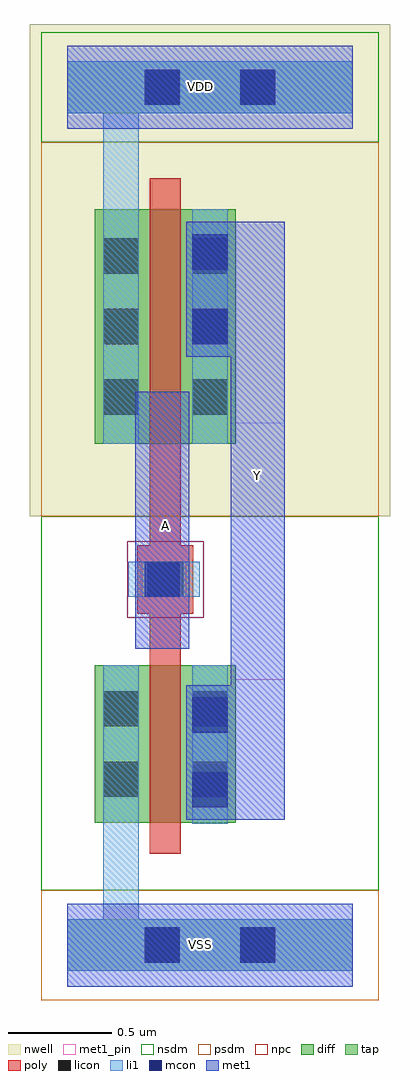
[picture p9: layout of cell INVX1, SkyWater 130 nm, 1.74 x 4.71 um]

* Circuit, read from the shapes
.subckt INVX1 A VDD VSS Y
XM1 Y A VSS VSS sky130_fd_pr__nfet_01v8 w=0.76 l=0.15
XM2 Y A VDD VDD sky130_fd_pr__pfet_01v8 w=1.13 l=0.15
.ends

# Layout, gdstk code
from math import pi, radians
import gdstk
lib = gdstk.Library(unit=1e-6, precision=1e-09)
def R(c, l, rs):  # rectangles x0, y0, x1, y1
    for r in rs: c.add(gdstk.rectangle(r[:2], r[2:], *l))
def A(c, l, x, y, w, h, nx, ny, dx, dy):  # array of equal rectangles
    R(c, l, [(x+i*dx, y+j*dy, x+i*dx+w, y+j*dy+h) for i in range(nx) for j in range(ny)])
nwell = (64, 20)
diff = (65, 20)
tap = (65, 44)
poly = (66, 20)
licon = (66, 44)
li1 = (67, 20)
mcon = (67, 44)
met1_pin = (68, 16)
met1 = (68, 20)
nsdm = (93, 44)
psdm = (94, 20)
npc = (95, 20)

l1m1_c_cdns_750710154094 = lib.new_cell('L1M1_C_CDNS_750710154094')
R(l1m1_c_cdns_750710154094, li1, [(-0.085,-0.345,0.085,0.345)])
R(l1m1_c_cdns_750710154094, mcon, [(-0.085,-0.265,0.085,-0.095), (-0.085,0.095,0.085,0.265)])
R(l1m1_c_cdns_750710154094, met1, [(-0.115,-0.325,0.115,0.325)])

l1m1_c_cdns_750710154090 = lib.new_cell('L1M1_C_CDNS_750710154090')
R(l1m1_c_cdns_750710154090, li1, [(-0.165,-0.085,0.165,0.085)])
R(l1m1_c_cdns_750710154090, mcon, [(-0.085,-0.085,0.085,0.085)])
R(l1m1_c_cdns_750710154090, met1, [(-0.115,-0.145,0.115,0.145)])

pyl1con_c_cdns_750710154 = lib.new_cell('PYL1CON_C_CDNS_750710154092')
R(pyl1con_c_cdns_750710154, poly, [(-0.135,-0.165,0.135,0.165)])
R(pyl1con_c_cdns_750710154, licon, [(-0.085,-0.085,0.085,0.085)])
R(pyl1con_c_cdns_750710154, npc, [(-0.185,-0.185,0.185,0.185)])

invx1 = lib.new_cell('INVX1')
R(invx1, nwell, [(-0.18,2.07,1.56,4.305), (-0.045,2.24,0.995,3.73), (-0.18,3.875,1.56,4.445)])
R(invx1, diff, [(0.135,0.59,0.4,1.35), (0.4,0.59,0.55,1.35), (0.55,0.59,0.815,1.35), (0.135,2.42,0.4,3.55), (0.4,2.42,0.55,3.55), (0.55,2.42,0.815,3.55)])
R(invx1, poly, [(0.4,0.44,0.55,0.495), (0.4,0.495,0.55,0.59), (0.4,0.59,0.55,1.35), (0.4,1.35,0.55,1.445), (0.4,1.445,0.55,1.5), (0.4,2.27,0.55,2.325), (0.4,2.325,0.55,2.42), (0.4,2.42,0.55,3.55), (0.4,3.55,0.55,3.645), (0.4,3.645,0.55,3.7)])
A(invx1, licon, 0.175, 2.56, 0.17, 0.17, 1, 3, 0, 0.34)
A(invx1, licon, 0.605, 2.56, 0.17, 0.17, 1, 3, 0, 0.34)
R(invx1, licon, [(0.375,-0.085,0.545,0.085), (0.835,-0.085,1.005,0.085), (0.175,0.715,0.345,0.885), (0.605,0.715,0.775,0.885), (0.175,1.055,0.345,1.225), (0.605,1.055,0.775,1.225), (0.375,4.055,0.545,4.225), (0.835,4.055,1.005,4.225)])
R(invx1, li1, [(0.175,0.59,0.345,1.35), (0.605,0.59,0.775,1.35), (0.175,2.42,0.345,3.55), (0.605,2.42,0.775,3.55)])
R(invx1, mcon, [(0.375,-0.085,0.545,0.085), (0.835,-0.085,1.005,0.085), (0.375,4.055,0.545,4.225), (0.835,4.055,1.005,4.225)])
R(invx1, met1_pin, [(0.79,1.28,1.05,2.52), (0.33,1.43,0.59,2.67)])
R(invx1, nsdm, [(-0.125,0.265,1.505,2.07), (-0.005,0.46,0.955,1.48), (-0.125,3.875,1.505,4.405), (-0.125,3.93,1.505,4.35)])
R(invx1, psdm, [(-0.125,-0.265,1.505,0.265), (-0.125,-0.21,1.505,0.21), (-0.125,2.07,1.505,3.875), (-0.005,2.29,0.955,3.68)])
invx1.add(gdstk.FlexPath([(0.92,3.49),(0.92,0.605)], 0.26, ends="flush", simple_path=True, layer=68, datatype=20))  # met1
invx1.add(gdstk.FlexPath([(0,4.14),(1.38,4.14)], 0.4, ends="flush", simple_path=True, layer=68, datatype=20))  # met1
invx1.add(gdstk.FlexPath([(0.46,1.43),(0.46,2.67)], 0.26, ends="flush", simple_path=True, layer=68, datatype=20))  # met1
invx1.add(gdstk.FlexPath([(0,0),(1.38,0)], 0.4, ends="flush", simple_path=True, layer=68, datatype=20))  # met1
invx1.add(gdstk.FlexPath([(0,4.14),(1.38,4.14)], 0.25, ends="flush", simple_path=True, layer=65, datatype=44))  # tap
invx1.add(gdstk.FlexPath([(0,0),(1.38,0)], 0.25, ends="flush", simple_path=True, layer=65, datatype=44))  # tap
invx1.add(gdstk.FlexPath([(0.475,2.27),(0.475,1.46)], 0.15, ends="flush", simple_path=True, layer=66, datatype=20))  # poly
invx1.add(gdstk.FlexPath([(0.26,3.55),(0.26,4.14)], 0.17, ends=(0, 0.125), simple_path=True, layer=67, datatype=20))  # li1
invx1.add(gdstk.FlexPath([(0.26,0),(0.215,0)], 0.17, ends=(0.085, 0), simple_path=True, layer=67, datatype=20))  # li1
invx1.add(gdstk.FlexPath([(0.26,0.59),(0.26,0)], 0.17, ends=(0, 0.085), simple_path=True, layer=67, datatype=20))  # li1
invx1.add(gdstk.FlexPath([(0,0),(1.38,0)], 0.25, ends="flush", simple_path=True, layer=67, datatype=20))  # li1
invx1.add(gdstk.FlexPath([(0,4.14),(1.38,4.14)], 0.25, ends="flush", simple_path=True, layer=67, datatype=20))  # li1
invx1.add(gdstk.FlexPath([(0.295,1.765),(0.64,1.765)], 0.17, ends="flush", simple_path=True, layer=67, datatype=20))  # li1
invx1.add(gdstk.FlexPath([(0,4.14),(1.38,4.14)], 0.4, ends="flush", simple_path=True, layer=68, datatype=16))  # met1_pin
invx1.add(gdstk.FlexPath([(0,0),(1.38,0)], 0.4, ends="flush", simple_path=True, layer=68, datatype=16))  # met1_pin
invx1.add(gdstk.Reference(l1m1_c_cdns_750710154094, (0.69,3.165)))
invx1.add(gdstk.Reference(l1m1_c_cdns_750710154094, (0.69,0.93)))
invx1.add(gdstk.Reference(l1m1_c_cdns_750710154090, (0.46,1.765), x_reflection=True))
invx1.add(gdstk.Reference(pyl1con_c_cdns_750710154, (0.475,1.765), rotation=pi, x_reflection=True))
invx1.add(gdstk.Label('VDD', (0.645,4.145), layer=68, texttype=5))
invx1.add(gdstk.Label('VSS', (0.645,0.005), layer=68, texttype=5))
invx1.add(gdstk.Label('A', (0.475,2.025), layer=68, texttype=5))
invx1.add(gdstk.Label('Y', (0.92,2.265), layer=68, texttype=5))

lib.write_gds('INVX1.gds')
